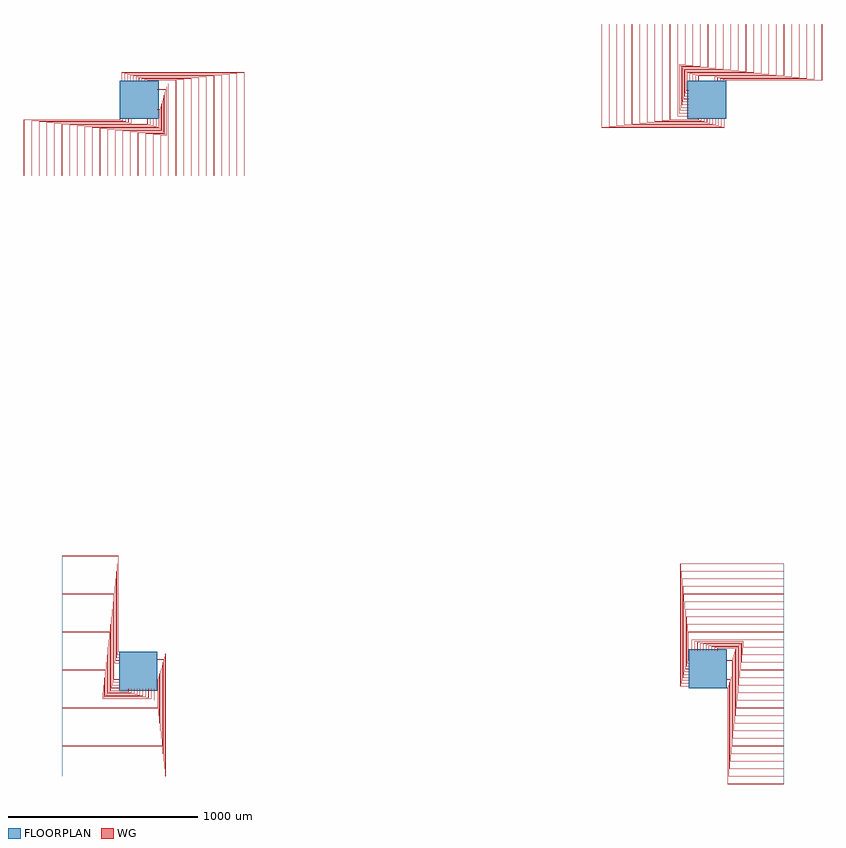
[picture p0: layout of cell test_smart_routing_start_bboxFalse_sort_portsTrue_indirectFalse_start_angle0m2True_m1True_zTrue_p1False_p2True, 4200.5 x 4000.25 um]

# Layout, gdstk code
import gdstk
lib = gdstk.Library(unit=1e-6, precision=1e-09)
def R(c, l, rs):  # rectangles x0, y0, x1, y1
    for r in rs: c.add(gdstk.rectangle(r[:2], r[2:], *l))
def P(c, l, *ps):  # polygons
    for p in ps: c.add(gdstk.Polygon(p, *l))
WG = (1, 0)
FLOORPLAN = (10, 0)

test_smart_routing_start = lib.new_cell('test_smart_routing_start_bboxFalse_sort_portsTrue_indirectFalse_start_angle0m2True_m1True_zTrue_p1False_p2True')
P(test_smart_routing_start, WG, [(3094.75,3100),(3094.75,3104.5),(3599.75,3104.5),(3599.75,3400),(3600.25,3400),(3600.25,3104),(3095.25,3104),(3095.25,3100)],
  [(3079.75,3100),(3079.75,3109),(3559.75,3109),(3559.75,3400),(3560.25,3400),(3560.25,3108.5),(3080.25,3108.5),(3080.25,3100)],
  [(3064.75,3100),(3064.75,3113.5),(3519.75,3113.5),(3519.75,3400),(3520.25,3400),(3520.25,3113),(3065.25,3113),(3065.25,3100)],
  [(3049.75,3100),(3049.75,3118),(3479.75,3118),(3479.75,3400),(3480.25,3400),(3480.25,3117.5),(3050.25,3117.5),(3050.25,3100)],
  [(3034.75,3100),(3034.75,3122.5),(3439.75,3122.5),(3439.75,3400),(3440.25,3400),(3440.25,3122),(3035.25,3122),(3035.25,3100)],
  [(2949.75,3100),(2949.75,3127),(3399.75,3127),(3399.75,3400),(3400.25,3400),(3400.25,3126.5),(2950.25,3126.5),(2950.25,3100)],
  [(2934.75,3100),(2934.75,3131.5),(3359.75,3131.5),(3359.75,3400),(3360.25,3400),(3360.25,3131),(2935.25,3131),(2935.25,3100)],
  [(2919.75,3100),(2919.75,3136),(3319.75,3136),(3319.75,3400),(3320.25,3400),(3320.25,3135.5),(2920.25,3135.5),(2920.25,3100)],
  [(2904.75,3100),(2904.75,3140.5),(3279.75,3140.5),(3279.75,3400),(3280.25,3400),(3280.25,3140),(2905.25,3140),(2905.25,3100)],
  [(2889.75,3100),(2889.75,3145),(3239.75,3145),(3239.75,3400),(3240.25,3400),(3240.25,3144.5),(2890.25,3144.5),(2890.25,3100)],
  [(2885.25,3049.75),(2885.25,3149.5),(3199.75,3149.5),(3199.75,3400),(3200.25,3400),(3200.25,3149),(2885.75,3149),(2885.75,3050.25),(2900,3050.25),(2900,3049.75)],
  [(2880.75,3034.75),(2880.75,3154),(3159.75,3154),(3159.75,3400),(3160.25,3400),(3160.25,3153.5),(2881.25,3153.5),(2881.25,3035.25),(2900,3035.25),(2900,3034.75)],
  [(2876.25,3019.75),(2876.25,3158.5),(3119.75,3158.5),(3119.75,3400),(3120.25,3400),(3120.25,3158),(2876.75,3158),(2876.75,3020.25),(2900,3020.25),(2900,3019.75)],
  [(2871.75,3004.75),(2871.75,3163),(3079.75,3163),(3079.75,3400),(3080.25,3400),(3080.25,3162.5),(2872.25,3162.5),(2872.25,3005.25),(2900,3005.25),(2900,3004.75)],
  [(2867.25,2989.75),(2867.25,3167.5),(3039.75,3167.5),(3039.75,3400),(3040.25,3400),(3040.25,3167),(2867.75,3167),(2867.75,2990.25),(2900,2990.25),(2900,2989.75)],
  [(2862.75,2974.75),(2862.75,3172),(2999.75,3172),(2999.75,3400),(3000.25,3400),(3000.25,3171.5),(2863.25,3171.5),(2863.25,2975.25),(2900,2975.25),(2900,2974.75)],
  [(2858.25,2959.75),(2858.25,3176.5),(2959.75,3176.5),(2959.75,3400),(2960.25,3400),(2960.25,3176),(2858.75,3176),(2858.75,2960.25),(2900,2960.25),(2900,2959.75)],
  [(2853.75,2944.75),(2853.75,3181),(2919.75,3181),(2919.75,3400),(2920.25,3400),(2920.25,3180.5),(2854.25,3180.5),(2854.25,2945.25),(2900,2945.25),(2900,2944.75)],
  [(2849.25,2929.75),(2849.25,3185.5),(2879.75,3185.5),(2879.75,3400),(2880.25,3400),(2880.25,3185),(2849.75,3185),(2849.75,2930.25),(2900,2930.25),(2900,2929.75)],
  [(2839.75,2914.75),(2839.75,3400),(2840.25,3400),(2840.25,2915.25),(2900,2915.25),(2900,2914.75)],
  [(2799.75,2895.5),(2799.75,3400),(2800.25,3400),(2800.25,2896),(2949.75,2896),(2949.75,2900),(2950.25,2900),(2950.25,2895.5)],
  [(2759.75,2891),(2759.75,3400),(2760.25,3400),(2760.25,2891.5),(2964.75,2891.5),(2964.75,2900),(2965.25,2900),(2965.25,2891)],
  [(2719.75,2886.5),(2719.75,3400),(2720.25,3400),(2720.25,2887),(2979.75,2887),(2979.75,2900),(2980.25,2900),(2980.25,2886.5)],
  [(2679.75,2882),(2679.75,3400),(2680.25,3400),(2680.25,2882.5),(2994.75,2882.5),(2994.75,2900),(2995.25,2900),(2995.25,2882)],
  [(2639.75,2877.5),(2639.75,3400),(2640.25,3400),(2640.25,2878),(3009.75,2878),(3009.75,2900),(3010.25,2900),(3010.25,2877.5)],
  [(2599.75,2873),(2599.75,3400),(2600.25,3400),(2600.25,2873.5),(3024.75,2873.5),(3024.75,2900),(3025.25,2900),(3025.25,2873)],
  [(2559.75,2868.5),(2559.75,3400),(2560.25,3400),(2560.25,2869),(3039.75,2869),(3039.75,2900),(3040.25,2900),(3040.25,2868.5)],
  [(2519.75,2864),(2519.75,3400),(2520.25,3400),(2520.25,2864.5),(3054.75,2864.5),(3054.75,2900),(3055.25,2900),(3055.25,2864)],
  [(2479.75,2859.5),(2479.75,3400),(2480.25,3400),(2480.25,2860),(3069.75,2860),(3069.75,2900),(3070.25,2900),(3070.25,2859.5)],
  [(2439.75,2855),(2439.75,3400),(2440.25,3400),(2440.25,2855.5),(3084.75,2855.5),(3084.75,2900),(3085.25,2900),(3085.25,2855)],
  [(-600.25,2600),(-600.25,2896),(-95.25,2896),(-95.25,2900),(-94.75,2900),(-94.75,2895.5),(-599.75,2895.5),(-599.75,2600)],
  [(-560.25,2600),(-560.25,2891.5),(-80.25,2891.5),(-80.25,2900),(-79.75,2900),(-79.75,2891),(-559.75,2891),(-559.75,2600)],
  [(-520.25,2600),(-520.25,2887),(-65.25,2887),(-65.25,2900),(-64.75,2900),(-64.75,2886.5),(-519.75,2886.5),(-519.75,2600)],
  [(-480.25,2600),(-480.25,2882.5),(-50.25,2882.5),(-50.25,2900),(-49.75,2900),(-49.75,2882),(-479.75,2882),(-479.75,2600)],
  [(-440.25,2600),(-440.25,2878),(-35.25,2878),(-35.25,2900),(-34.75,2900),(-34.75,2877.5),(-439.75,2877.5),(-439.75,2600)],
  [(-400.25,2600),(-400.25,2873.5),(49.75,2873.5),(49.75,2900),(50.25,2900),(50.25,2873),(-399.75,2873),(-399.75,2600)],
  [(-360.25,2600),(-360.25,2869),(64.75,2869),(64.75,2900),(65.25,2900),(65.25,2868.5),(-359.75,2868.5),(-359.75,2600)],
  [(-320.25,2600),(-320.25,2864.5),(79.75,2864.5),(79.75,2900),(80.25,2900),(80.25,2864),(-319.75,2864),(-319.75,2600)],
  [(-280.25,2600),(-280.25,2860),(94.75,2860),(94.75,2900),(95.25,2900),(95.25,2859.5),(-279.75,2859.5),(-279.75,2600)],
  [(-240.25,2600),(-240.25,2855.5),(109.75,2855.5),(109.75,2900),(110.25,2900),(110.25,2855),(-239.75,2855),(-239.75,2600)],
  [(-200.25,2600),(-200.25,2851),(114.25,2851),(114.25,2949.75),(100,2949.75),(100,2950.25),(114.75,2950.25),(114.75,2850.5),(-199.75,2850.5),(-199.75,2600)],
  [(-160.25,2600),(-160.25,2846.5),(118.75,2846.5),(118.75,2964.75),(100,2964.75),(100,2965.25),(119.25,2965.25),(119.25,2846),(-159.75,2846),(-159.75,2600)],
  [(-120.25,2600),(-120.25,2842),(123.25,2842),(123.25,2979.75),(100,2979.75),(100,2980.25),(123.75,2980.25),(123.75,2841.5),(-119.75,2841.5),(-119.75,2600)],
  [(-80.25,2600),(-80.25,2837.5),(127.75,2837.5),(127.75,2994.75),(100,2994.75),(100,2995.25),(128.25,2995.25),(128.25,2837),(-79.75,2837),(-79.75,2600)],
  [(-40.25,2600),(-40.25,2833),(132.25,2833),(132.25,3009.75),(100,3009.75),(100,3010.25),(132.75,3010.25),(132.75,2832.5),(-39.75,2832.5),(-39.75,2600)],
  [(-0.25,2600),(-0.25,2828.5),(136.75,2828.5),(136.75,3024.75),(100,3024.75),(100,3025.25),(137.25,3025.25),(137.25,2828),(0.25,2828),(0.25,2600)],
  [(39.75,2600),(39.75,2824),(141.25,2824),(141.25,3039.75),(100,3039.75),(100,3040.25),(141.75,3040.25),(141.75,2823.5),(40.25,2823.5),(40.25,2600)],
  [(79.75,2600),(79.75,2819.5),(145.75,2819.5),(145.75,3054.75),(100,3054.75),(100,3055.25),(146.25,3055.25),(146.25,2819),(80.25,2819),(80.25,2600)],
  [(119.75,2600),(119.75,2815),(150.25,2815),(150.25,3069.75),(100,3069.75),(100,3070.25),(150.75,3070.25),(150.75,2814.5),(120.25,2814.5),(120.25,2600)],
  [(159.75,2600),(159.75,3084.75),(100,3084.75),(100,3085.25),(160.25,3085.25),(160.25,2600)],
  [(199.75,2600),(199.75,3104),(50.25,3104),(50.25,3100),(49.75,3100),(49.75,3104.5),(200.25,3104.5),(200.25,2600)],
  [(239.75,2600),(239.75,3108.5),(35.25,3108.5),(35.25,3100),(34.75,3100),(34.75,3109),(240.25,3109),(240.25,2600)],
  [(279.75,2600),(279.75,3113),(20.25,3113),(20.25,3100),(19.75,3100),(19.75,3113.5),(280.25,3113.5),(280.25,2600)],
  [(319.75,2600),(319.75,3117.5),(5.25,3117.5),(5.25,3100),(4.75,3100),(4.75,3118),(320.25,3118),(320.25,2600)],
  [(359.75,2600),(359.75,3122),(-9.75,3122),(-9.75,3100),(-10.25,3100),(-10.25,3122.5),(360.25,3122.5),(360.25,2600)],
  [(399.75,2600),(399.75,3126.5),(-24.75,3126.5),(-24.75,3100),(-25.25,3100),(-25.25,3127),(400.25,3127),(400.25,2600)],
  [(439.75,2600),(439.75,3131),(-39.75,3131),(-39.75,3100),(-40.25,3100),(-40.25,3131.5),(440.25,3131.5),(440.25,2600)],
  [(479.75,2600),(479.75,3135.5),(-54.75,3135.5),(-54.75,3100),(-55.25,3100),(-55.25,3136),(480.25,3136),(480.25,2600)],
  [(519.75,2600),(519.75,3140),(-69.75,3140),(-69.75,3100),(-70.25,3100),(-70.25,3140.5),(520.25,3140.5),(520.25,2600)],
  [(559.75,2600),(559.75,3144.5),(-84.75,3144.5),(-84.75,3100),(-85.25,3100),(-85.25,3145),(560.25,3145),(560.25,2600)],
  [(-104.5,94.75),(-104.5,599.75),(-400,599.75),(-400,600.25),(-104,600.25),(-104,95.25),(-100,95.25),(-100,94.75)],
  [(-109,79.75),(-109,559.75),(-400,559.75),(-400,560.25),(-108.5,560.25),(-108.5,80.25),(-100,80.25),(-100,79.75)],
  [(-113.5,64.75),(-113.5,519.75),(-400,519.75),(-400,520.25),(-113,520.25),(-113,65.25),(-100,65.25),(-100,64.75)],
  [(-118,49.75),(-118,479.75),(-400,479.75),(-400,480.25),(-117.5,480.25),(-117.5,50.25),(-100,50.25),(-100,49.75)],
  [(-122.5,34.75),(-122.5,439.75),(-400,439.75),(-400,440.25),(-122,440.25),(-122,35.25),(-100,35.25),(-100,34.75)],
  [(-127,-50.25),(-127,399.75),(-400,399.75),(-400,400.25),(-126.5,400.25),(-126.5,-49.75),(-100,-49.75),(-100,-50.25)],
  [(-131.5,-65.25),(-131.5,359.75),(-400,359.75),(-400,360.25),(-131,360.25),(-131,-64.75),(-100,-64.75),(-100,-65.25)],
  [(-136,-80.25),(-136,319.75),(-400,319.75),(-400,320.25),(-135.5,320.25),(-135.5,-79.75),(-100,-79.75),(-100,-80.25)],
  [(-140.5,-95.25),(-140.5,279.75),(-400,279.75),(-400,280.25),(-140,280.25),(-140,-94.75),(-100,-94.75),(-100,-95.25)],
  [(-145,-110.25),(-145,239.75),(-400,239.75),(-400,240.25),(-144.5,240.25),(-144.5,-109.75),(-100,-109.75),(-100,-110.25)],
  [(-149.5,-114.75),(-149.5,199.75),(-400,199.75),(-400,200.25),(-149,200.25),(-149,-114.25),(-50.25,-114.25),(-50.25,-100),(-49.75,-100),(-49.75,-114.75)],
  [(-154,-119.25),(-154,159.75),(-400,159.75),(-400,160.25),(-153.5,160.25),(-153.5,-118.75),(-35.25,-118.75),(-35.25,-100),(-34.75,-100),(-34.75,-119.25)],
  [(-158.5,-123.75),(-158.5,119.75),(-400,119.75),(-400,120.25),(-158,120.25),(-158,-123.25),(-20.25,-123.25),(-20.25,-100),(-19.75,-100),(-19.75,-123.75)],
  [(-163,-128.25),(-163,79.75),(-400,79.75),(-400,80.25),(-162.5,80.25),(-162.5,-127.75),(-5.25,-127.75),(-5.25,-100),(-4.75,-100),(-4.75,-128.25)],
  [(-167.5,-132.75),(-167.5,39.75),(-400,39.75),(-400,40.25),(-167,40.25),(-167,-132.25),(9.75,-132.25),(9.75,-100),(10.25,-100),(10.25,-132.75)],
  [(-172,-137.25),(-172,-0.25),(-400,-0.25),(-400,0.25),(-171.5,0.25),(-171.5,-136.75),(24.75,-136.75),(24.75,-100),(25.25,-100),(25.25,-137.25)],
  [(-176.5,-141.75),(-176.5,-40.25),(-400,-40.25),(-400,-39.75),(-176,-39.75),(-176,-141.25),(39.75,-141.25),(39.75,-100),(40.25,-100),(40.25,-141.75)],
  [(-181,-146.25),(-181,-80.25),(-400,-80.25),(-400,-79.75),(-180.5,-79.75),(-180.5,-145.75),(54.75,-145.75),(54.75,-100),(55.25,-100),(55.25,-146.25)],
  [(-185.5,-150.75),(-185.5,-120.25),(-400,-120.25),(-400,-119.75),(-185,-119.75),(-185,-150.25),(69.75,-150.25),(69.75,-100),(70.25,-100),(70.25,-150.75)],
  [(-400,-160.25),(-400,-159.75),(84.75,-159.75),(84.75,-100),(85.25,-100),(85.25,-160.25)],
  [(-400,-200.25),(-400,-199.75),(104,-199.75),(104,-50.25),(100,-50.25),(100,-49.75),(104.5,-49.75),(104.5,-200.25)],
  [(-400,-240.25),(-400,-239.75),(108.5,-239.75),(108.5,-35.25),(100,-35.25),(100,-34.75),(109,-34.75),(109,-240.25)],
  [(-400,-280.25),(-400,-279.75),(113,-279.75),(113,-20.25),(100,-20.25),(100,-19.75),(113.5,-19.75),(113.5,-280.25)],
  [(-400,-320.25),(-400,-319.75),(117.5,-319.75),(117.5,-5.25),(100,-5.25),(100,-4.75),(118,-4.75),(118,-320.25)],
  [(-400,-360.25),(-400,-359.75),(122,-359.75),(122,9.75),(100,9.75),(100,10.25),(122.5,10.25),(122.5,-360.25)],
  [(-400,-400.25),(-400,-399.75),(126.5,-399.75),(126.5,24.75),(100,24.75),(100,25.25),(127,25.25),(127,-400.25)],
  [(-400,-440.25),(-400,-439.75),(131,-439.75),(131,39.75),(100,39.75),(100,40.25),(131.5,40.25),(131.5,-440.25)],
  [(-400,-480.25),(-400,-479.75),(135.5,-479.75),(135.5,54.75),(100,54.75),(100,55.25),(136,55.25),(136,-480.25)],
  [(-400,-520.25),(-400,-519.75),(140,-519.75),(140,69.75),(100,69.75),(100,70.25),(140.5,70.25),(140.5,-520.25)],
  [(-400,-560.25),(-400,-559.75),(144.5,-559.75),(144.5,84.75),(100,84.75),(100,85.25),(145,85.25),(145,-560.25)],
  [(3104,-600.25),(3104,-95.25),(3100,-95.25),(3100,-94.75),(3104.5,-94.75),(3104.5,-599.75),(3400,-599.75),(3400,-600.25)],
  [(3108.5,-560.25),(3108.5,-80.25),(3100,-80.25),(3100,-79.75),(3109,-79.75),(3109,-559.75),(3400,-559.75),(3400,-560.25)],
  [(3113,-520.25),(3113,-65.25),(3100,-65.25),(3100,-64.75),(3113.5,-64.75),(3113.5,-519.75),(3400,-519.75),(3400,-520.25)],
  [(3117.5,-480.25),(3117.5,-50.25),(3100,-50.25),(3100,-49.75),(3118,-49.75),(3118,-479.75),(3400,-479.75),(3400,-480.25)],
  [(3122,-440.25),(3122,-35.25),(3100,-35.25),(3100,-34.75),(3122.5,-34.75),(3122.5,-439.75),(3400,-439.75),(3400,-440.25)],
  [(3126.5,-400.25),(3126.5,49.75),(3100,49.75),(3100,50.25),(3127,50.25),(3127,-399.75),(3400,-399.75),(3400,-400.25)],
  [(3131,-360.25),(3131,64.75),(3100,64.75),(3100,65.25),(3131.5,65.25),(3131.5,-359.75),(3400,-359.75),(3400,-360.25)],
  [(3135.5,-320.25),(3135.5,79.75),(3100,79.75),(3100,80.25),(3136,80.25),(3136,-319.75),(3400,-319.75),(3400,-320.25)],
  [(3140,-280.25),(3140,94.75),(3100,94.75),(3100,95.25),(3140.5,95.25),(3140.5,-279.75),(3400,-279.75),(3400,-280.25)],
  [(3144.5,-240.25),(3144.5,109.75),(3100,109.75),(3100,110.25),(3145,110.25),(3145,-239.75),(3400,-239.75),(3400,-240.25)],
  [(3149,-200.25),(3149,114.25),(3050.25,114.25),(3050.25,100),(3049.75,100),(3049.75,114.75),(3149.5,114.75),(3149.5,-199.75),(3400,-199.75),(3400,-200.25)],
  [(3153.5,-160.25),(3153.5,118.75),(3035.25,118.75),(3035.25,100),(3034.75,100),(3034.75,119.25),(3154,119.25),(3154,-159.75),(3400,-159.75),(3400,-160.25)],
  [(3158,-120.25),(3158,123.25),(3020.25,123.25),(3020.25,100),(3019.75,100),(3019.75,123.75),(3158.5,123.75),(3158.5,-119.75),(3400,-119.75),(3400,-120.25)],
  [(3162.5,-80.25),(3162.5,127.75),(3005.25,127.75),(3005.25,100),(3004.75,100),(3004.75,128.25),(3163,128.25),(3163,-79.75),(3400,-79.75),(3400,-80.25)],
  [(3167,-40.25),(3167,132.25),(2990.25,132.25),(2990.25,100),(2989.75,100),(2989.75,132.75),(3167.5,132.75),(3167.5,-39.75),(3400,-39.75),(3400,-40.25)],
  [(3171.5,-0.25),(3171.5,136.75),(2975.25,136.75),(2975.25,100),(2974.75,100),(2974.75,137.25),(3172,137.25),(3172,0.25),(3400,0.25),(3400,-0.25)],
  [(3176,39.75),(3176,141.25),(2960.25,141.25),(2960.25,100),(2959.75,100),(2959.75,141.75),(3176.5,141.75),(3176.5,40.25),(3400,40.25),(3400,39.75)],
  [(3180.5,79.75),(3180.5,145.75),(2945.25,145.75),(2945.25,100),(2944.75,100),(2944.75,146.25),(3181,146.25),(3181,80.25),(3400,80.25),(3400,79.75)],
  [(2929.75,100),(2929.75,150.75),(3185.5,150.75),(3185.5,120.25),(3400,120.25),(3400,119.75),(3185,119.75),(3185,150.25),(2930.25,150.25),(2930.25,100)],
  [(2914.75,100),(2914.75,160.25),(3400,160.25),(3400,159.75),(2915.25,159.75),(2915.25,100)],
  [(2895.5,49.75),(2895.5,200.25),(3400,200.25),(3400,199.75),(2896,199.75),(2896,50.25),(2900,50.25),(2900,49.75)],
  [(2891,34.75),(2891,240.25),(3400,240.25),(3400,239.75),(2891.5,239.75),(2891.5,35.25),(2900,35.25),(2900,34.75)],
  [(2886.5,19.75),(2886.5,280.25),(3400,280.25),(3400,279.75),(2887,279.75),(2887,20.25),(2900,20.25),(2900,19.75)],
  [(2882,4.75),(2882,320.25),(3400,320.25),(3400,319.75),(2882.5,319.75),(2882.5,5.25),(2900,5.25),(2900,4.75)],
  [(2877.5,-10.25),(2877.5,360.25),(3400,360.25),(3400,359.75),(2878,359.75),(2878,-9.75),(2900,-9.75),(2900,-10.25)],
  [(2873,-25.25),(2873,400.25),(3400,400.25),(3400,399.75),(2873.5,399.75),(2873.5,-24.75),(2900,-24.75),(2900,-25.25)],
  [(2868.5,-40.25),(2868.5,440.25),(3400,440.25),(3400,439.75),(2869,439.75),(2869,-39.75),(2900,-39.75),(2900,-40.25)],
  [(2864,-55.25),(2864,480.25),(3400,480.25),(3400,479.75),(2864.5,479.75),(2864.5,-54.75),(2900,-54.75),(2900,-55.25)],
  [(2859.5,-70.25),(2859.5,520.25),(3400,520.25),(3400,519.75),(2860,519.75),(2860,-69.75),(2900,-69.75),(2900,-70.25)],
  [(2855,-85.25),(2855,560.25),(3400,560.25),(3400,559.75),(2855.5,559.75),(2855.5,-84.75),(2900,-84.75),(2900,-85.25)])
R(test_smart_routing_start, FLOORPLAN, [(-100,-110,100,95), (2900,-95,3100,110), (-95,2900,110,3100), (2890,2900,3095,3100)])
P(test_smart_routing_start, FLOORPLAN, [(-400,-560),(-400,600),(-400,600),(-400,-560)],
  [(-600,2600),(-600,2600),(560,2600),(560,2600)],
  [(3400,-600),(3400,560),(3400,560),(3400,-600)],
  [(2440,3400),(2440,3400),(3600,3400),(3600,3400)])

lib.write_gds('test_smart_routing_start_bboxFalse_sort_portsTrue_indirectFalse_start_angle0m2True_m1True_zTrue_p1False_p2True.gds')
